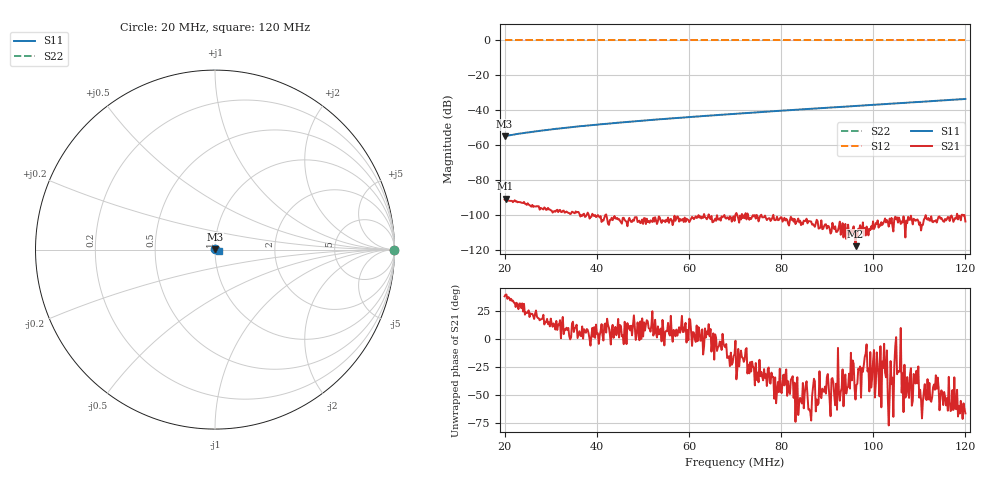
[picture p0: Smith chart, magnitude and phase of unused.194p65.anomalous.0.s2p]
! Anritsu VNA Master:  Model: MS2036C/10/77
! SN:  1601066
! /bd0/18may08.cable.cal/unused.194p65.anomalous.0.s2p
! Existing Calibration Information:
! TYPE:  Current Settings,  Active Cal Settings
! TIME:  05/08/2018 04:05:46 PM,  05/08/2018 03:57:21 PM
! INTERNAL TEMP:  50.3 C,  50.3 C
! # POINTS:  500,  500
! START FREQ:  20.000 MHz,  20.000 MHz
! STOP FREQ:  120.000 MHz,  120.000 MHz
! SOURCE POWER:  High,  High
! IFBW:  50 Hz,  50 Hz
! AVG FACTOR:  1 ,  1
! REF PLANE 1:  0 mm,  0 mm
! REF PLANE 2:  0 mm,  0 mm
! CAL TYPE:  Full S11,  Full S11
! CAL METHOD:  SOLT,  SOLT
! CAL LINE TYPE:  Coax,  Coax
! DUT PORT 1:  K-Conn(F),  K-Conn(F)
! DUT PORT 2:  K-Conn(F),  K-Conn(F)
! CAL STATUS:  OK: Accuracy High,  --
# GHZ S DB R 50.0
! FREQ.GHZ  S11DB  S11A  S21DB  S21A  S12DB  S12A  S22DB  S22A
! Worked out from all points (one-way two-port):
!   500 points, 20 MHz to 120 MHz, reference 50 ohm
!   highest |S21| = -90.48 dB at 20.2 MHz (marker M1); lowest = -117.6 dB at 96.15 MHz (marker M2)
!   lowest |S11| = -54.7 dB at 20 MHz (marker M3), VSWR 1.00, Z = 50.1 + j0.174 ohm
!   |S11| at or under -10 dB: start of sweep to end of sweep
!   |S22| runs from 0.0 to 0.0 dB; largest |S21 - S12| = 1
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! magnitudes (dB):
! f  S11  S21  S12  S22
! 20 MHz  -54.7  -90.9  0.0  0.0
! 20.2 MHz  -54.6  -90.5  0.0  0.0
! 22.81 MHz  -53.5  -92.5  0.0  0.0
! 26.21 MHz  -52.2  -95.2  0.0  0.0
! 31.62 MHz  -50.4  -98.2  0.0  0.0
! 36.83 MHz  -48.9  -100.3  0.0  0.0
! 41.24 MHz  -47.8  -102.6  0.0  0.0
! 45.65 MHz  -46.8  -101.4  0.0  0.0
! 53.47 MHz  -45.1  -100.6  0.0  0.0
! 63.09 MHz  -43.2  -101.4  0.0  0.0
! 64.49 MHz  -43.0  -101.3  0.0  0.0
! 66.89 MHz  -42.5  -103.0  0.0  0.0
! 70.1 MHz  -41.9  -99.6  0.0  0.0
! 82.53 MHz  -39.7  -101.8  0.0  0.0
! 86.73 MHz  -39.0  -105.3  0.0  0.0
! 96.15 MHz  -37.5  -117.6  0.0  0.0
! 103.4 MHz  -36.2  -106.5  0.0  0.0
! 106.6 MHz  -35.7  -100.5  0.0  0.0
! 108 MHz  -35.4  -102.6  0.0  0.0
! 109 MHz  -35.3  -102.4  0.0  0.0
! 116.6 MHz  -34.0  -103.2  0.0  0.0
! 120 MHz  -33.5  -103.5  0.0  0.0
